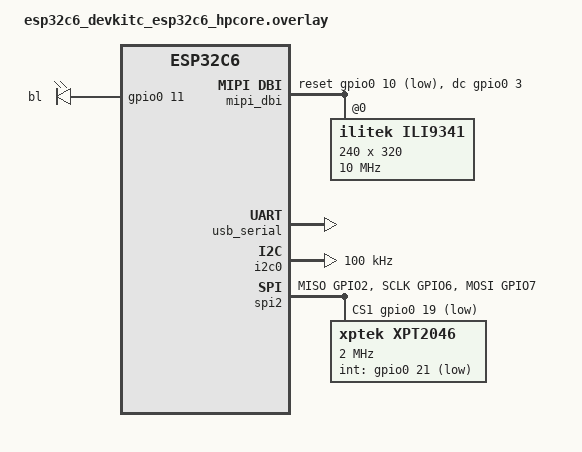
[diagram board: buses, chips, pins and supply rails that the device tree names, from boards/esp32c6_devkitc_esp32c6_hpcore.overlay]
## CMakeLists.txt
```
cmake_minimum_required(VERSION 3.20.0)
find_package(Zephyr REQUIRED HINTS $ENV{ZEPHYR_BASE})
project(air_quality_monitor VERSION 0.1.0)

target_sources(app PRIVATE
    src/main.c
    src/sgp30.c
    src/ui/ui.c
    src/ui/images.c
    src/ui/screens.c
    src/ui/styles.c
)

# EEZ Studio generates files into src/ui/ — make it includable
target_include_directories(app PRIVATE src/ui)
```

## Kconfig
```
mainmenu "Air Quality Monitor"

config APP_SGP30_WARMUP_S
	int "SGP30 sensor warmup time in seconds"
	default 15
	help
	  The SGP30 needs at least 15 seconds of warmup before eCO2 and TVOC
	  readings are reliable. During this period the UI shows a warming-up
	  screen and the sensor is still commanded at 1 Hz (required by the chip).

config APP_SENSOR_POLL_MS
	int "Sensor polling interval in milliseconds"
	default 1000
	help
	  How often the SGP30 is read. The SGP30 datasheet mandates exactly
	  1-second intervals for its on-chip baseline algorithm; do not set
	  this below 1000.

config APP_UI_REFRESH_MS
	int "LVGL UI refresh interval in milliseconds"
	default 100
	help
	  How often lv_timer_handler() is called. 100 ms (10 FPS) is
	  sufficient for a data-display application.

source "Kconfig.zephyr"
```

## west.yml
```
manifest:
  name: air-quality-monitor

  self:
    path: air-quality-monitor

  remotes:
    - name: zephyrproject-rtos
      url-base: https://github.com/zephyrproject-rtos

  projects:
    - name: zephyr
      remote: zephyrproject-rtos
      # Pin to a specific stable release. Update as needed.
      revision: v3.7.0
      # Importing zephyr's own west.yml pulls in all required modules:
      # hal_espressif, lvgl, mbedtls, mcuboot, openthread, etc.
      import: true

  defaults:
    remote: zephyrproject-rtos
```

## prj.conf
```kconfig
# ── I2C ──────────────────────────────────────────────────
CONFIG_I2C=y

# ── SPI ──────────────────────────────────────────────────
CONFIG_SPI=y

# ── Display ──────────────────────────────────────────────
CONFIG_DISPLAY=y
CONFIG_MIPI_DBI=y
CONFIG_ILI9341=y

# ── Input / Touch ─────────────────────────────────────────
CONFIG_INPUT=y
CONFIG_INPUT_XPT2046=y
CONFIG_LV_Z_POINTER_INPUT=y

# ── LVGL ─────────────────────────────────────────────────
CONFIG_LVGL=y
CONFIG_LV_COLOR_DEPTH_16=y
CONFIG_LV_COLOR_16_SWAP=y
CONFIG_LV_FONT_MONTSERRAT_24=y
CONFIG_LV_USE_CHART=y
CONFIG_LV_Z_AUTO_INIT=n
CONFIG_LV_Z_BUFFER_ALLOC_STATIC=y
CONFIG_LV_Z_MEM_POOL_HEAP_LIB_C=y
CONFIG_LV_Z_BITS_PER_PIXEL=16

# ── Stacks ─────────────────────────────────────────────────
CONFIG_MAIN_STACK_SIZE=8192

# ── Logging ──────────────────────────────────────────────
CONFIG_LOG=y
CONFIG_LOG_DEFAULT_LEVEL=3
CONFIG_LOG_MODE_IMMEDIATE=y
```

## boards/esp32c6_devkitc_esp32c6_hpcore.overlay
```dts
#include <zephyr/dt-bindings/pinctrl/esp32c6-pinctrl.h>
#include <zephyr/dt-bindings/display/panel.h>

/ {
  chosen {
    zephyr,console    = &usb_serial;
    zephyr,shell-uart = &usb_serial;
    zephyr,display    = &ili9341;
  };
  backlight: backlight {
    compatible = "gpio-leds";
    bl: bl {
      gpios = <&gpio0 11 GPIO_ACTIVE_HIGH>;
    };
  };
  lvgl_pointer: lvgl_pointer {
    compatible = "zephyr,lvgl-pointer-input";
    input = <&xpt2046>;
    invert-x;
    invert-y;
  };
  mipi_dbi: mipi_dbi {
    compatible = "zephyr,mipi-dbi-spi";
    spi-dev = <&spi2>;
    dc-gpios = <&gpio0 3 GPIO_ACTIVE_HIGH>;   /* was GPIO8, moved to GPIO3 */
    reset-gpios = <&gpio0 10 GPIO_ACTIVE_LOW>;
    write-only;
    #address-cells = <1>;
    #size-cells = <0>;
    ili9341: ili9341@0 {
      compatible = "ilitek,ili9341";
      reg = <0>;
      mipi-max-frequency = <10000000>;
      pixel-format = <PANEL_PIXEL_FORMAT_RGB_565X>; /* FIX #3: was RGB_565, X suffix enables BGR bit */
      width = <240>;
      height = <320>;
      rotation = <270>;                              /* FIX #2: was 90, caused mirrored text */
      disctrl = [ 0a A2 27 04  ];   /* SS=1: flips source scan direction (horizontal) */
    };
  };
};

&usb_serial {status = "okay"; };

&pinctrl {
  i2c0_default: i2c0_default {
    group1 {
      pinmux = <I2C0_SDA_GPIO22>, <I2C0_SCL_GPIO23>;
      bias-pull-up; drive-open-drain; output-high;
    };
  };
  spi2_default: spi2_default {
    group1 {
      pinmux = <SPIM2_MISO_GPIO2>, <SPIM2_SCLK_GPIO6>, <SPIM2_MOSI_GPIO7>;
    };
  };
};

&i2c0 {
  status = "okay";
  clock-frequency = <I2C_BITRATE_STANDARD>;
  pinctrl-0 = <&i2c0_default>;
  pinctrl-names = "default";
};

&spi2 {
  status = "okay";
  pinctrl-0 = <&spi2_default>;
  pinctrl-names = "default";
  cs-gpios = <&gpio0 18 GPIO_ACTIVE_LOW>, <&gpio0 19 GPIO_ACTIVE_LOW>;
  xpt2046: xpt2046@1 {
    compatible = "xptek,xpt2046";
    reg = <1>;
    spi-max-frequency = <2000000>;
    int-gpios = <&gpio0 21 GPIO_ACTIVE_LOW>;
    touchscreen-size-x = <240>;
    touchscreen-size-y = <320>;
    min-x = <500>; min-y = <250>;
    max-x = <3550>; max-y = <3500>;
  };
};
```

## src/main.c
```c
/*
 * Air Quality Monitor — main.c  (Stage 4, button navigation only)
 *
 * Navigation
 * ──────────
 *  All screen transitions go through navigate_to().
 *  Every header button on every screen calls the same nav_btn_cb(),
 *  with the target screen ID passed as user_data.
 *  Tapping chart_history on the Main screen also jumps to Histogram.
 *
 *  Carousel / swipe removed — the header nav bar is sufficient.
 *
 * Touch calibration
 * ─────────────────
 *  Set TOUCH_DEBUG 1, flash, tap top-left and bottom-right corners,
 *  read the logged (x,y) pairs, adjust invert-x / invert-y / swap-xy
 *  in the overlay's lvgl_pointer node, then set TOUCH_DEBUG back to 0.
 *
 * Threading
 * ─────────
 *  sensor_thread (priority 5) — owns SGP30, writes to sensor_msgq.
 *  main thread   (priority 0) — owns all LVGL calls.
 */

#include <zephyr/kernel.h>
#include <zephyr/drivers/gpio.h>
#include <zephyr/drivers/i2c.h>
#include <zephyr/drivers/display.h>
#include <zephyr/logging/log.h>
#include <lvgl.h>
#include <stdio.h>

#include "sgp30.h"
#include "ui/ui.h"
#include "ui/screens.h"

LOG_MODULE_REGISTER(main, LOG_LEVEL_INF);

extern int lvgl_init(void);

/* ── Touch debug ─────────────────────────────────────────── */
/* Set to 1 to log every touch press coordinate to the console. */
#define TOUCH_DEBUG 0

/* ── Hardware ────────────────────────────────────────────── */

static const struct gpio_dt_spec backlight =
    GPIO_DT_SPEC_GET(DT_NODELABEL(bl), gpios);

/* ── Timing ──────────────────────────────────────────────── */

#define SENSOR_INTERVAL_MS 1000
#define LVGL_INTERVAL_MS 5

/* ── Sensor ranges ───────────────────────────────────────── */

#define ECO2_MIN 400
#define ECO2_MAX 2000
#define TVOC_MIN 0
#define TVOC_MAX 500

/* ── Chart ───────────────────────────────────────────────── */

#define CHART_POINTS 60

static lv_chart_series_t *chart_ser_eco2;
static lv_chart_series_t *chart_ser_tvoc;
static lv_chart_series_t *chart_full_ser_eco2;
static lv_chart_series_t *chart_full_ser_tvoc;

/* ── Inter-thread communication ──────────────────────────── */

struct sensor_reading
{
  uint16_t eco2;
  uint16_t tvoc;
};

K_MSGQ_DEFINE(sensor_msgq, sizeof(struct sensor_reading), 4, 4);

/* ── Air-quality classification ──────────────────────────── */

static const char *quality_label(uint16_t eco2)
{
  if (eco2 < 800)
    return "GOOD";
  if (eco2 < 1200)
    return "MODERATE";
  if (eco2 < 1600)
    return "POOR";
  return "DANGER";
}

static lv_color_t quality_color(uint16_t eco2)
{
  if (eco2 < 800)
    return lv_color_hex(0x00C800);
  if (eco2 < 1200)
    return lv_color_hex(0xFFA000);
  if (eco2 < 1600)
    return lv_color_hex(0xFF4000);
  return lv_color_hex(0xFF0000);
}

/* ══════════════════════════════════════════════════════════
 *  NAVIGATION
 * ══════════════════════════════════════════════════════════ */

/*
 * Screen order used for animation direction.
 * The animation slides left when moving to a higher index,
 * right when moving to a lower index.
 */
static const enum ScreensEnum screen_order[] = {
    SCREEN_ID_MAIN,
    SCREEN_ID_HISTOGRAM,
    SCREEN_ID_NETWORK,
    SCREEN_ID_SETTINGS,
};
#define SCREEN_ORDER_COUNT ((int)ARRAY_SIZE(screen_order))

static enum ScreensEnum current_screen = SCREEN_ID_MAIN;

static lv_obj_t *screen_obj(enum ScreensEnum id)
{
  switch (id)
  {
  case SCREEN_ID_MAIN:
    return objects.main;
  case SCREEN_ID_NETWORK:
    return objects.network;
  case SCREEN_ID_HISTOGRAM:
    return objects.histogram;
  case SCREEN_ID_SETTINGS:
    return objects.settings;
  default:
    return objects.main;
  }
}

static int screen_index(enum ScreensEnum id)
{
  for (int i = 0; i < SCREEN_ORDER_COUNT; i++)
  {
    if (screen_order[i] == id)
      return i;
  }
  return 0;
}

static void navigate_to(enum ScreensEnum target)
{
  if (target == current_screen)
  {
    return;
  }

  /* Slide left when going to a higher-index screen, right otherwise */
  lv_scr_load_anim_t anim =
      (screen_index(target) > screen_index(current_screen))
          ? LV_SCR_LOAD_ANIM_MOVE_LEFT
          : LV_SCR_LOAD_ANIM_MOVE_RIGHT;

  current_screen = target;
  ui_set_screen(target);
  lv_scr_load_anim(screen_obj(target), anim, 200, 0, false);
}

/* ══════════════════════════════════════════════════════════
 *  EVENT CALLBACKS
 * ══════════════════════════════════════════════════════════ */

/* Shared callback for every header nav button across all screens. */
static void nav_btn_cb(lv_event_t *e)
{
  enum ScreensEnum target =
      (enum ScreensEnum)(uintptr_t)lv_event_get_user_data(e);
  navigate_to(target);
}

/* Tap on chart_history on the Main screen → jump to Histogram. */
static void chart_tap_cb(lv_event_t *e)
{
  navigate_to(SCREEN_ID_HISTOGRAM);
}

/* Dark mode toggle on the Settings screen. */
static void dark_mode_cb(lv_event_t *e)
{
  bool dark = lv_obj_has_state(objects.sw_dark_mode, LV_STATE_CHECKED);
  lv_display_t *disp = lv_display_get_default();
  lv_theme_t *theme = lv_theme_default_init(
      disp,
      lv_palette_main(LV_PALETTE_BLUE),
      lv_palette_main(LV_PALETTE_RED),
      dark,
      LV_FONT_DEFAULT);
  lv_display_set_theme(disp, theme);
  LOG_INF("Dark mode %s", dark ? "on" : "off");
}

static void ui_register_callbacks(void)
{
  /* ── Main ── */
  lv_obj_add_event_cb(objects.btn_main_main,
                      nav_btn_cb, LV_EVENT_CLICKED, (void *)SCREEN_ID_MAIN);
  lv_obj_add_event_cb(objects.btn_main_chart,
                      nav_btn_cb, LV_EVENT_CLICKED, (void *)SCREEN_ID_HISTOGRAM);
  lv_obj_add_event_cb(objects.btn_main_network,
                      nav_btn_cb, LV_EVENT_CLICKED, (void *)SCREEN_ID_NETWORK);
  lv_obj_add_event_cb(objects.btn_main_settings,
                      nav_btn_cb, LV_EVENT_CLICKED, (void *)SCREEN_ID_SETTINGS);

  /* ── Network ── */
  lv_obj_add_event_cb(objects.btn_network_main,
                      nav_btn_cb, LV_EVENT_CLICKED, (void *)SCREEN_ID_MAIN);
  lv_obj_add_event_cb(objects.btn_network_chart,
                      nav_btn_cb, LV_EVENT_CLICKED, (void *)SCREEN_ID_HISTOGRAM);
  lv_obj_add_event_cb(objects.btn_network_network,
                      nav_btn_cb, LV_EVENT_CLICKED, (void *)SCREEN_ID_NETWORK);
  lv_obj_add_event_cb(objects.btn_network_settings,
                      nav_btn_cb, LV_EVENT_CLICKED, (void *)SCREEN_ID_SETTINGS);

  /* ── Histogram ── */
  lv_obj_add_event_cb(objects.btn_chart_main,
                      nav_btn_cb, LV_EVENT_CLICKED, (void *)SCREEN_ID_MAIN);
  lv_obj_add_event_cb(objects.btn_chart_chart,
                      nav_btn_cb, LV_EVENT_CLICKED, (void *)SCREEN_ID_HISTOGRAM);
  lv_obj_add_event_cb(objects.btn_chart_network,
                      nav_btn_cb, LV_EVENT_CLICKED, (void *)SCREEN_ID_NETWORK);
  lv_obj_add_event_cb(objects.btn_chart_settings,
                      nav_btn_cb, LV_EVENT_CLICKED, (void *)SCREEN_ID_SETTINGS);

  /* ── Settings ── */
  lv_obj_add_event_cb(objects.btn_settings_main,
                      nav_btn_cb, LV_EVENT_CLICKED, (void *)SCREEN_ID_MAIN);
  lv_obj_add_event_cb(objects.btn_settings_chart,
                      nav_btn_cb, LV_EVENT_CLICKED, (void *)SCREEN_ID_HISTOGRAM);
  lv_obj_add_event_cb(objects.btn_settings_network,
                      nav_btn_cb, LV_EVENT_CLICKED, (void *)SCREEN_ID_NETWORK);
  lv_obj_add_event_cb(objects.btn_settings_settings,
                      nav_btn_cb, LV_EVENT_CLICKED, (void *)SCREEN_ID_SETTINGS);

  /* ── Tap chart_history → Histogram ── */
  lv_obj_add_flag(objects.chart_history, LV_OBJ_FLAG_CLICKABLE);
  lv_obj_add_event_cb(objects.chart_history, chart_tap_cb,
                      LV_EVENT_CLICKED, NULL);

  /* ── Dark mode switch ── */
  lv_obj_add_event_cb(objects.sw_dark_mode, dark_mode_cb,
                      LV_EVENT_VALUE_CHANGED, NULL);
}

/* ══════════════════════════════════════════════════════════
 *  TOUCH DEBUG
 * ══════════════════════════════════════════════════════════ */

#if TOUCH_DEBUG
/*
 * Walk LVGL's indev chain and log coordinates on every press.
 * Tap top-left corner  → note (x, y).
 * Tap bottom-right corner → note (x, y).
 *
 * Expected after correct calibration:
 *   top-left  → (~0,  ~0)
 *   bot-right → (~319, ~239)
 *
 * Symptom / fix in the overlay lvgl_pointer node:
 *   x/y swapped              → add swap-xy;
 *   x inverted               → add/remove invert-x;
 *   y inverted               → add/remove invert-y;
 */
static void touch_debug_log(void)
{
  lv_indev_t *indev = lv_indev_get_next(NULL);
  while (indev)
  {
    if (lv_indev_get_type(indev) == LV_INDEV_TYPE_POINTER)
    {
      if (lv_indev_get_state(indev) == LV_INDEV_STATE_PRESSED)
      {
        lv_point_t p;
        lv_indev_get_point(indev, &p);
        LOG_INF("TOUCH x=%-4d y=%d", p.x, p.y);
      }
    }
    indev = lv_indev_get_next(indev);
  }
}
#endif /* TOUCH_DEBUG */

/* ══════════════════════════════════════════════════════════
 *  UI SETUP AND UPDATE
 * ══════════════════════════════════════════════════════════ */

static void ui_setup_chart(void)
{
  lv_obj_t *charts[2] = {objects.chart_history,
                         objects.chart_fullscreen};
  lv_chart_series_t **eco2[2] = {&chart_ser_eco2,
                                 &chart_full_ser_eco2};
  lv_chart_series_t **tvoc[2] = {&chart_ser_tvoc,
                                 &chart_full_ser_tvoc};

  for (int i = 0; i < 2; i++)
  {
    lv_obj_t *c = charts[i];
    lv_chart_set_type(c, LV_CHART_TYPE_LINE);
    lv_chart_set_point_count(c, CHART_POINTS);
    lv_chart_set_range(c, LV_CHART_AXIS_PRIMARY_Y, ECO2_MIN, ECO2_MAX);
    lv_chart_set_range(c, LV_CHART_AXIS_SECONDARY_Y, TVOC_MIN, TVOC_MAX);
    lv_obj_set_style_size(c, 0, 0, LV_PART_INDICATOR);

    *eco2[i] = lv_chart_add_series(c, lv_color_hex(0x00BFFF),
                                   LV_CHART_AXIS_PRIMARY_Y);
    *tvoc[i] = lv_chart_add_series(c, lv_color_hex(0xFFA500),
                                   LV_CHART_AXIS_SECONDARY_Y);

    lv_chart_set_all_value(c, *eco2[i], LV_CHART_POINT_NONE);
    lv_chart_set_all_value(c, *tvoc[i], LV_CHART_POINT_NONE);
  }
}

static void ui_update(uint16_t eco2, uint16_t tvoc, int64_t uptime_s)
{
  char buf[32];

  snprintf(buf, sizeof(buf), "%u", eco2);
  lv_label_set_text(objects.label_eco2_value, buf);
  lv_label_set_text(objects.label_eco2_unit, "ppm");
  lv_bar_set_range(objects.bar_eco2, ECO2_MIN, ECO2_MAX);
  lv_bar_set_value(objects.bar_eco2, eco2, LV_ANIM_ON);

  snprintf(buf, sizeof(buf), "%u", tvoc);
  lv_label_set_text(objects.label_tvoc_value, buf);
  lv_label_set_text(objects.label_tvoc_unit, "ppb");
  lv_bar_set_range(objects.bar_tvoc, TVOC_MIN, TVOC_MAX);
  lv_bar_set_value(objects.bar_tvoc, tvoc, LV_ANIM_ON);

  lv_label_set_text(objects.label_status, quality_label(eco2));
  lv_obj_set_style_text_color(objects.label_status,
                              quality_color(eco2), LV_PART_MAIN);

  lv_chart_set_next_value(objects.chart_history, chart_ser_eco2, eco2);
  lv_chart_set_next_value(objects.chart_history, chart_ser_tvoc, tvoc);
  lv_chart_refresh(objects.chart_history);
  lv_chart_set_next_value(objects.chart_fullscreen, chart_full_ser_eco2, eco2);
  lv_chart_set_next_value(objects.chart_fullscreen, chart_full_ser_tvoc, tvoc);
  lv_chart_refresh(objects.chart_fullscreen);

  int h = (int)(uptime_s / 3600);
  int m = (int)((uptime_s % 3600) / 60);
  int s = (int)(uptime_s % 60);
  snprintf(buf, sizeof(buf), "%02d:%02d:%02d", h, m, s);
  lv_label_set_text(objects.label_uptime, buf);
}

/* ══════════════════════════════════════════════════════════
 *  SENSOR THREAD
 * ══════════════════════════════════════════════════════════ */

#define SENSOR_THREAD_STACK_SIZE 2048

static void sensor_thread_fn(void *p1, void *p2, void *p3)
{
  ARG_UNUSED(p1);
  ARG_UNUSED(p2);
  ARG_UNUSED(p3);

  const struct device *i2c = DEVICE_DT_GET(DT_NODELABEL(i2c0));
  sgp30_t sgp30 = {0};
  bool sensor_ok = (sgp30_init(&sgp30, i2c) == 0);

  if (!sensor_ok)
  {
    LOG_WRN("SGP30 init failed — using safe defaults");
  }

  while (1)
  {
    struct sensor_reading r = {.eco2 = 400, .tvoc = 0};

    if (sensor_ok)
    {
      if (sgp30_measure(&sgp30, &r.eco2, &r.tvoc) == 0)
      {
        LOG_INF("eCO2: %4u ppm  |  TVOC: %4u ppb", r.eco2, r.tvoc);
      }
      else
      {
        LOG_WRN("SGP30 measurement failed");
      }
    }

    if (k_msgq_put(&sensor_msgq, &r, K_NO_WAIT) != 0)
    {
      k_msgq_purge(&sensor_msgq);
      k_msgq_put(&sensor_msgq, &r, K_NO_WAIT);
    }

    k_sleep(K_MSEC(SENSOR_INTERVAL_MS));
  }
}

K_THREAD_DEFINE(sensor_tid,
                SENSOR_THREAD_STACK_SIZE,
                sensor_thread_fn,
                NULL, NULL, NULL,
                5, 0, 0);

/* ══════════════════════════════════════════════════════════
 *  MAIN
 * ══════════════════════════════════════════════════════════ */

int main(void)
{
  printk("### main() reached ###\n");

  if (!gpio_is_ready_dt(&backlight))
  {
    printk("ERROR: backlight GPIO not ready\n");
    return -ENODEV;
  }
  gpio_pin_configure_dt(&backlight, GPIO_OUTPUT_ACTIVE);
  gpio_pin_set_dt(&backlight, 1);
  printk("Backlight on\n");

  const struct device *display_dev =
      DEVICE_DT_GET(DT_CHOSEN(zephyr_display));
  if (!device_is_ready(display_dev))
  {
    printk("ERROR: display not ready\n");
    return -ENODEV;
  }
  printk("Display ready\n");

  int ret = lvgl_init();
  if (ret != 0)
  {
    printk("ERROR: lvgl_init failed: %d\n", ret);
    return ret;
  }
  printk("lvgl_init done\n");

  display_blanking_off(display_dev);

  ui_init();
  ui_register_callbacks();
  ui_setup_chart();

  printk("UI init done\n");
  lv_refr_now(NULL);
  printk("First refresh done\n");

  while (1)
  {
    uint32_t sleep_ms = lv_timer_handler();
    ui_tick();

#if TOUCH_DEBUG
    touch_debug_log();
#endif

    struct sensor_reading r;
    while (k_msgq_get(&sensor_msgq, &r, K_NO_WAIT) == 0)
    {
      ui_update(r.eco2, r.tvoc, k_uptime_get() / 1000);
    }

    k_msleep(MIN(sleep_ms, LVGL_INTERVAL_MS));
  }

  return 0;
}
```

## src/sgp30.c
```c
#include "sgp30.h"

#include <zephyr/kernel.h>
#include <zephyr/drivers/i2c.h>
#include <zephyr/logging/log.h>

LOG_MODULE_REGISTER(sgp30, LOG_LEVEL_DBG);

#define SGP30_I2C_ADDR 0x58

/* 16-bit commands (big-endian on the wire) */
#define CMD_INIT_AIR_QUALITY 0x2003
#define CMD_MEASURE_AIR_QUALITY 0x2008

/* CRC-8 per datasheet: poly=0x31, init=0xFF */
static uint8_t crc8(const uint8_t *data, size_t len)
{
  uint8_t crc = 0xFF;

  for (size_t i = 0; i < len; i++)
  {
    crc ^= data[i];
    for (int bit = 0; bit < 8; bit++)
    {
      crc = (crc & 0x80) ? (crc << 1) ^ 0x31 : (crc << 1);
    }
  }
  return crc;
}

static int send_cmd(const struct device *i2c, uint16_t cmd)
{
  uint8_t buf[2] = {cmd >> 8, cmd & 0xFF};
  return i2c_write(i2c, buf, sizeof(buf), SGP30_I2C_ADDR);
}

int sgp30_init(sgp30_t *dev, const struct device *i2c_dev)
{
  if (!device_is_ready(i2c_dev))
  {
    LOG_ERR("I2C bus not ready");
    return -ENODEV;
  }

  dev->i2c = i2c_dev;

  int rc = send_cmd(dev->i2c, CMD_INIT_AIR_QUALITY);
  if (rc < 0)
  {
    LOG_ERR("Init_air_quality failed: %d", rc);
    return rc;
  }

  /* Datasheet: max execution time 10 ms */
  k_msleep(10);

  LOG_INF("SGP30 initialised (15 s warm-up expected)");
  return 0;
}

int sgp30_measure(sgp30_t *dev, uint16_t *eco2_ppm, uint16_t *tvoc_ppb)
{
  int rc = send_cmd(dev->i2c, CMD_MEASURE_AIR_QUALITY);
  if (rc < 0)
  {
    LOG_ERR("Measure_air_quality command failed: %d", rc);
    return rc;
  }

  /* Datasheet: max execution time 12 ms */
  k_msleep(12);

  /* Response: [CO2_H, CO2_L, CRC, TVOC_H, TVOC_L, CRC] */
  uint8_t buf[6];
  rc = i2c_read(dev->i2c, buf, sizeof(buf), SGP30_I2C_ADDR);
  if (rc < 0)
  {
    LOG_ERR("I2C read failed: %d", rc);
    return rc;
  }

  if (crc8(&buf[0], 2) != buf[2])
  {
    LOG_ERR("CRC mismatch on eCO2 word (got 0x%02x, expected 0x%02x)",
            buf[2], crc8(&buf[0], 2));
    return -EIO;
  }

  if (crc8(&buf[3], 2) != buf[5])
  {
    LOG_ERR("CRC mismatch on TVOC word (got 0x%02x, expected 0x%02x)",
            buf[5], crc8(&buf[3], 2));
    return -EIO;
  }

  *eco2_ppm = ((uint16_t)buf[0] << 8) | buf[1];
  *tvoc_ppb = ((uint16_t)buf[3] << 8) | buf[4];

  return 0;
}
```

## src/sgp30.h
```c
#ifndef SGP30_H
#define SGP30_H

#include <zephyr/device.h>
#include <stdint.h>

/** Opaque driver handle — zero-initialise before calling sgp30_init(). */
typedef struct
{
  const struct device *i2c;
} sgp30_t;

/**
 * Initialise the SGP30 on the given I2C bus.
 * Sends Init_air_quality and blocks for the required 10 ms.
 * Returns 0 on success, negative errno on failure.
 */
int sgp30_init(sgp30_t *dev, const struct device *i2c_dev);

/**
 * Read eCO2 (ppm) and TVOC (ppb).
 * The caller must invoke this every ~1 s for the on-chip baseline algorithm.
 * For the first 15 s after init the values will be 400 ppm / 0 ppb — that is
 * normal sensor behaviour, not an error.
 * Returns 0 on success, negative errno on failure (including CRC mismatch).
 */
int sgp30_measure(sgp30_t *dev, uint16_t *eco2_ppm, uint16_t *tvoc_ppb);

#endif /* SGP30_H */
```
